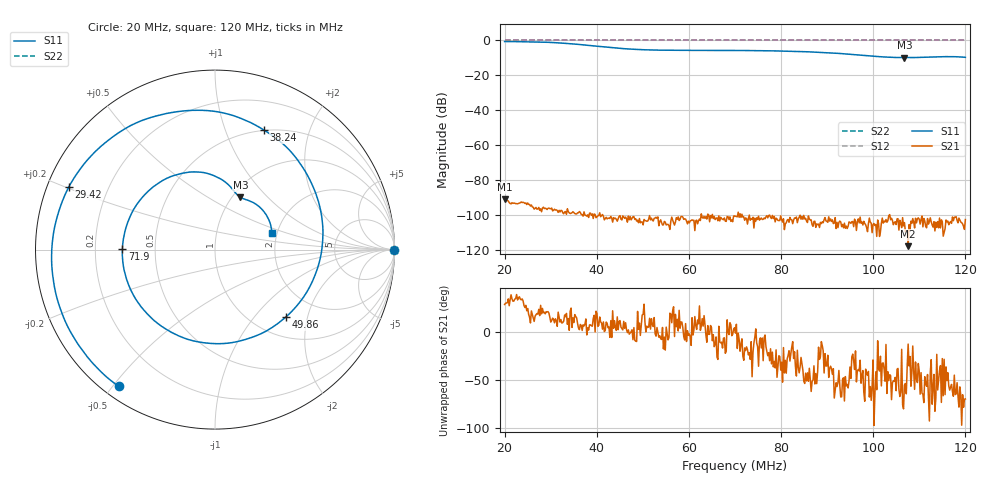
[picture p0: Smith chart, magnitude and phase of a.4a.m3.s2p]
! Anritsu VNA Master:  Model: MS2036C/10/77
! SN:  1601066
! /bd0/18may09/254.ew.m33.s2p
! Existing Calibration Information:
! TYPE:  Current Settings,  Active Cal Settings
! TIME:  05/09/2018 10:14:50 AM,  05/09/2018 10:08:40 AM
! INTERNAL TEMP:  48.5 C,  48.0 C
! # POINTS:  500,  500
! START FREQ:  20.000 MHz,  20.000 MHz
! STOP FREQ:  120.000 MHz,  120.000 MHz
! SOURCE POWER:  High,  High
! IFBW:  50 Hz,  50 Hz
! AVG FACTOR:  1 ,  1
! REF PLANE 1:  0 mm,  0 mm
! REF PLANE 2:  0 mm,  0 mm
! CAL TYPE:  Full S11,  Full S11
! CAL METHOD:  SOLT,  SOLT
! CAL LINE TYPE:  Coax,  Coax
! DUT PORT 1:  K-Conn(F),  K-Conn(F)
! DUT PORT 2:  K-Conn(F),  K-Conn(F)
! CAL STATUS:  OK: Accuracy High,  --
# GHZ S DB R 50.0
! FREQ.GHZ  S11DB  S11A  S21DB  S21A  S12DB  S12A  S22DB  S22A
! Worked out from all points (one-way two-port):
!   500 points, 20 MHz to 120 MHz, reference 50 ohm
!   highest |S21| = -90.68 dB at 20 MHz (marker M1); lowest = -117.5 dB at 107.6 MHz (marker M2)
!   lowest |S11| = -9.8 dB at 106.8 MHz (marker M3), VSWR 1.95, Z = 54.5 + j35.4 ohm
!   |S11| at or under -10 dB: nowhere
!   |S22| runs from 0.0 to 0.0 dB; largest |S21 - S12| = 1
!   S11 on the Smith chart (normalised r, x): 20 MHz: 0.04, -0.52; 29.42 MHz: 0.06, +0.20; 38.24 MHz: 0.49, +1.37; 49.86 MHz: 1.38, -1.48; 71.9 MHz: 0.32, +0.00; 120 MHz: 1.87, +0.39
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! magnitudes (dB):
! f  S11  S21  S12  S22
! 20 MHz  -0.6  -90.7  0.0  0.0
! 25.01 MHz  -0.7  -92.9  0.0  0.0
! 29.42 MHz  -1.1  -95.9  0.0  0.0
! 32.83 MHz  -1.6  -99.0  0.0  0.0
! 36.83 MHz  -2.4  -99.6  0.0  0.0
! 38.24 MHz  -2.9  -101.2  0.0  0.0
! 44.65 MHz  -4.4  -101.9  0.0  0.0
! 46.85 MHz  -4.9  -100.3  0.0  0.0
! 49.86 MHz  -5.3  -103.7  0.0  0.0
! 53.47 MHz  -5.5  -105.9  0.0  0.0
! 70.1 MHz  -5.7  -100.5  0.0  0.0
! 71.9 MHz  -5.7  -100.9  0.0  0.0
! 79.12 MHz  -6.0  -102.0  0.0  0.0
! 86.73 MHz  -6.6  -105.3  0.0  0.0
! 92.14 MHz  -7.3  -103.9  0.0  0.0
! 100.6 MHz  -9.1  -105.1  0.0  0.0
! 103.4 MHz  -9.6  -100.2  0.0  0.0
! 106.8 MHz  -9.8  -104.1  0.0  0.0
! 107.6 MHz  -9.8  -117.5  0.0  0.0
! 115.8 MHz  -9.2  -102.6  0.0  0.0
! 117.8 MHz  -9.3  -101.0  0.0  0.0
! 120 MHz  -9.6  -102.3  0.0  0.0
